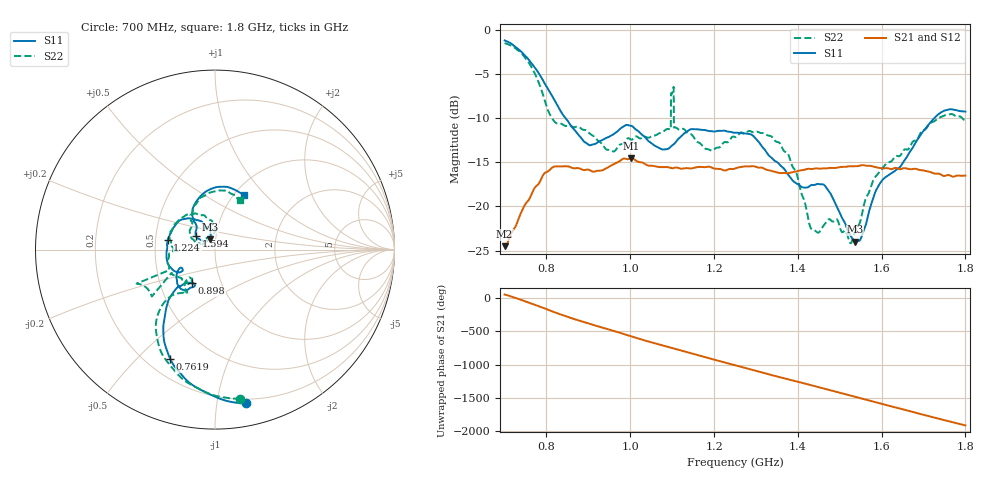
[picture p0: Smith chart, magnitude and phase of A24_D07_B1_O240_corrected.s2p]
! Created with skrf 1.9.0 (http://scikit-rf.org).
# Hz S RI R 50.0
!freq ReS11 ImS11 ReS21 ImS21 ReS12 ImS12 ReS22 ImS22
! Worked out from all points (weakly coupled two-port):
!   1601 points, 700 MHz to 1.8 GHz, reference 50 ohm
!   highest |S21| = -14.55 dB at 1.002 GHz (marker M1); lowest = -24.5 dB at 700 MHz (marker M2)
!   lowest |S11| = -24.0 dB at 1.537 GHz (marker M3), VSWR 1.13, Z = 46.9 + j5.32 ohm
!   |S11| at or under -10 dB: 845.7 MHz to 1.725 GHz (879.7 MHz wide, 68.4 % of centre)
!   |S22| runs from -24.2 to -1.5 dB; largest |S21 - S12| = 0.0036
!   S11 on the Smith chart (normalised r, x): 700 MHz: 0.17, -1.21; 761.9 MHz: 0.29, -0.63; 898 MHz: 0.73, -0.28; 1.224 GHz: 0.58, +0.07; 1.594 GHz: 0.80, +0.13; 1.8 GHz: 1.11, +0.77
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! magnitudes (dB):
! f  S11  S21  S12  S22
! 700 MHz  -1.2  -24.5  -24.3  -1.5
! 761.9 MHz  -3.6  -18.9  -18.8  -4.0
! 817.6 MHz  -7.8  -15.5  -15.6  -10.3
! 883.6 MHz  -12.3  -15.8  -15.7  -11.2
! 898 MHz  -12.9  -15.8  -15.9  -11.5
! 957.8 MHz  -11.9  -15.3  -15.3  -13.7
! 1.002 GHz  -10.9  -14.6  -14.7  -12.4
! 1.067 GHz  -13.3  -15.5  -15.5  -11.8
! 1.091 GHz  -13.5  -15.6  -15.6  -11.2
! 1.103 GHz  -13.0  -15.7  -15.6  -6.6
! 1.11 GHz  -12.6  -15.6  -15.7  -11.1
! 1.224 GHz  -11.4  -15.9  -15.9  -12.7
! 1.25 GHz  -11.6  -15.7  -15.6  -12.1
! 1.357 GHz  -15.2  -16.2  -16.2  -12.8
! 1.396 GHz  -17.4  -16.0  -16.0  -16.1
! 1.434 GHz  -17.6  -15.8  -15.7  -22.6
! 1.469 GHz  -17.9  -15.7  -15.7  -21.7
! 1.537 GHz  -24.0  -15.4  -15.4  -22.8
! 1.594 GHz  -17.6  -15.6  -15.6  -16.2
! 1.617 GHz  -16.4  -15.7  -15.7  -15.0
! 1.734 GHz  -9.6  -16.3  -16.3  -10.0
! 1.8 GHz  -9.3  -16.5  -16.5  -10.2
